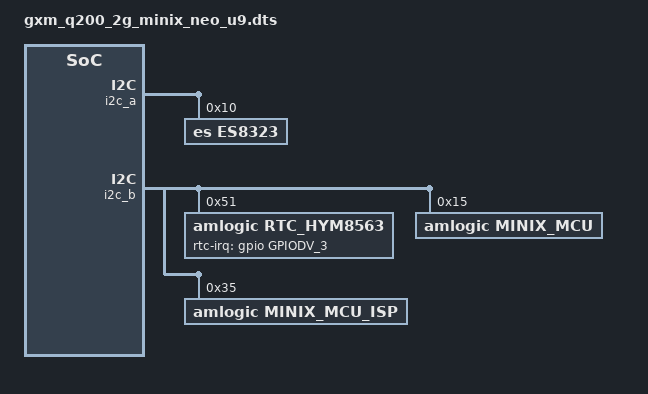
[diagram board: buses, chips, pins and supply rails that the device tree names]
#include "gxm_q200_2g.dts"

/{
	le-dt-id = "gxm_q200_2g_minix_neo_u9";
	sysled {
		led_gpio = <&gpio GPIOAO_9 GPIO_ACTIVE_HIGH>;
	};

	rtc {
		status = "disabled";
	};

	partitions:partitions {
		system:system {
			size = <0x0 0x80000000>;
		};
	};

	unifykey {
		keysn_8:key_8 {
			key-type = "sha1";
		};
	};

	amhdmitx: amhdmitx {
		pwr-ctrl = <&pwr_ctrl>;
	};

	pwr_ctrl: pwr_ctrl{
		pwr_5v_on = <&gpio	   GPIODV_7	   GPIO_ACTIVE_HIGH>;
		PWR_STBY_PWREN = <&gpio	   GPIODV_4	   GPIO_ACTIVE_HIGH>;
		vol_switch = <&gpio GPIOH_5 GPIO_ACTIVE_HIGH>;
	};

	amlogic_codec:t9015 {
		status = "disable";
	};

	aml_m8_snd {
		mute_gpio-gpios = <&gpio GPIODV_22 0>;

		codec0: codec0 {
			sound-dai = <&es8323>;
		};
	};
};

&i2c_a {
	status = "okay";
	es8323: es8323@10 {
		#sound-dai-cells = <0>;
		compatible = "es, es8323";
		reg = <0x10>;
	};
};

&i2c_b {
	status = "okay";
	
	rtc_hym8563 {
		compatible = "amlogic, rtc_hym8563";
		dev_name = "rtc_hym8563";
		status = "okay";
		reg = <0x51>;
		interrupts = <0 64 1>;
		gpio-rtc-irq = <&gpio	   GPIODV_3	   GPIO_ACTIVE_HIGH>;
	};

	minix_mcu{
		compatible = "amlogic,minix_mcu";
		status = "okay";
		reg = <0x15>;
	};

	minix_mcu_isp{
		compatible = "amlogic,minix_mcu_isp";
		reg = <0x35>;
	};
};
